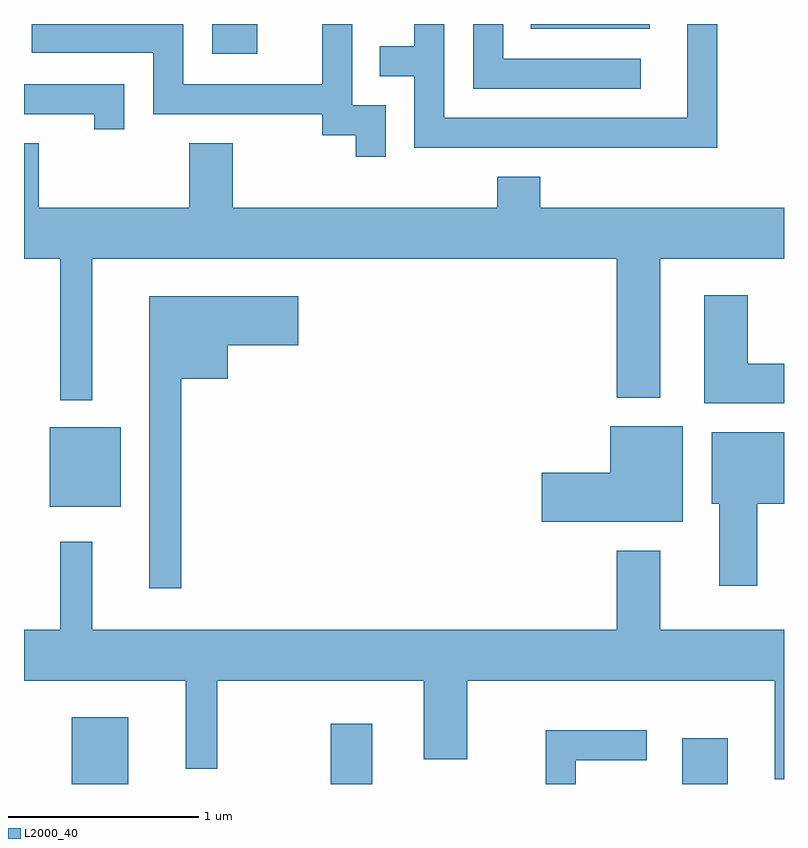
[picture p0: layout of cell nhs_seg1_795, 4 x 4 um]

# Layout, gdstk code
import gdstk
lib = gdstk.Library(unit=1e-6, precision=1e-09)
def R(c, l, rs):  # rectangles x0, y0, x1, y1
    for r in rs: c.add(gdstk.rectangle(r[:2], r[2:], *l))
def P(c, l, *ps):  # polygons
    for p in ps: c.add(gdstk.Polygon(p, *l))
L2000_40 = (2000, 40)

nhs_seg1_795 = lib.new_cell('nhs_seg1_795')
R(nhs_seg1_795, L2000_40, [(209.861,885.712,210.159,886.064), (211.226,885.712,211.444,886.029), (213.076,885.712,213.314,885.954), (209.746,887.171,210.119,887.589), (210.601,889.556,210.838,889.712), (212.278,889.686,212.904,889.712)])
P(nhs_seg1_795, L2000_40, [(211.514,889.284),(211.339,889.284),(211.339,889.712),(211.181,889.712),(211.181,889.394),(210.449,889.394),(210.449,889.712),(209.651,889.712),(209.651,889.561),(210.291,889.561),(210.291,889.236),(211.181,889.236),(211.181,889.126),(211.356,889.126),(211.356,889.013),(211.514,889.013)],
  [(213.259,889.712),(213.101,889.712),(213.101,889.219),(211.824,889.219),(211.824,889.712),(211.666,889.712),(211.666,889.594),(211.483,889.594),(211.483,889.436),(211.666,889.436),(211.666,889.061),(213.259,889.061)],
  [(212.858,889.529),(212.134,889.529),(212.134,889.712),(211.976,889.712),(211.976,889.371),(212.858,889.371)],
  [(210.139,889.394),(209.611,889.394),(209.611,889.236),(209.981,889.236),(209.981,889.158),(210.139,889.158)],
  [(209.969,888.476),(212.731,888.476),(212.731,887.746),(212.959,887.746),(212.959,888.476),(213.611,888.476),(213.611,888.744),(212.329,888.744),(212.329,888.909),(212.101,888.909),(212.101,888.744),(210.709,888.744),(210.709,889.084),(210.481,889.084),(210.481,888.744),(209.689,888.744),(209.689,889.084),(209.611,889.084),(209.611,888.476),(209.801,888.476),(209.801,887.733),(209.969,887.733)],
  [(213.611,887.924),(213.419,887.924),(213.419,888.284),(213.191,888.284),(213.191,887.716),(213.611,887.716)],
  [(210.439,887.846),(210.684,887.846),(210.684,888.021),(211.054,888.021),(211.054,888.279),(210.271,888.279),(210.271,886.743),(210.439,886.743)],
  [(213.079,887.594),(212.696,887.594),(212.696,887.349),(212.336,887.349),(212.336,887.091),(213.079,887.091)],
  [(213.469,887.186),(213.611,887.186),(213.611,887.564),(213.231,887.564),(213.231,887.186),(213.271,887.186),(213.271,886.756),(213.469,886.756)],
  [(213.611,886.524),(212.959,886.524),(212.959,886.939),(212.731,886.939),(212.731,886.524),(209.969,886.524),(209.969,886.988),(209.801,886.988),(209.801,886.524),(209.611,886.524),(209.611,886.256),(210.461,886.256),(210.461,885.793),(210.629,885.793),(210.629,886.256),(211.716,886.256),(211.716,885.841),(211.944,885.841),(211.944,886.256),(213.561,886.256),(213.561,885.736),(213.611,885.736)],
  [(212.514,885.836),(212.888,885.836),(212.888,885.994),(212.356,885.994),(212.356,885.712),(212.514,885.712)])

lib.write_gds('nhs_seg1_795.gds')
